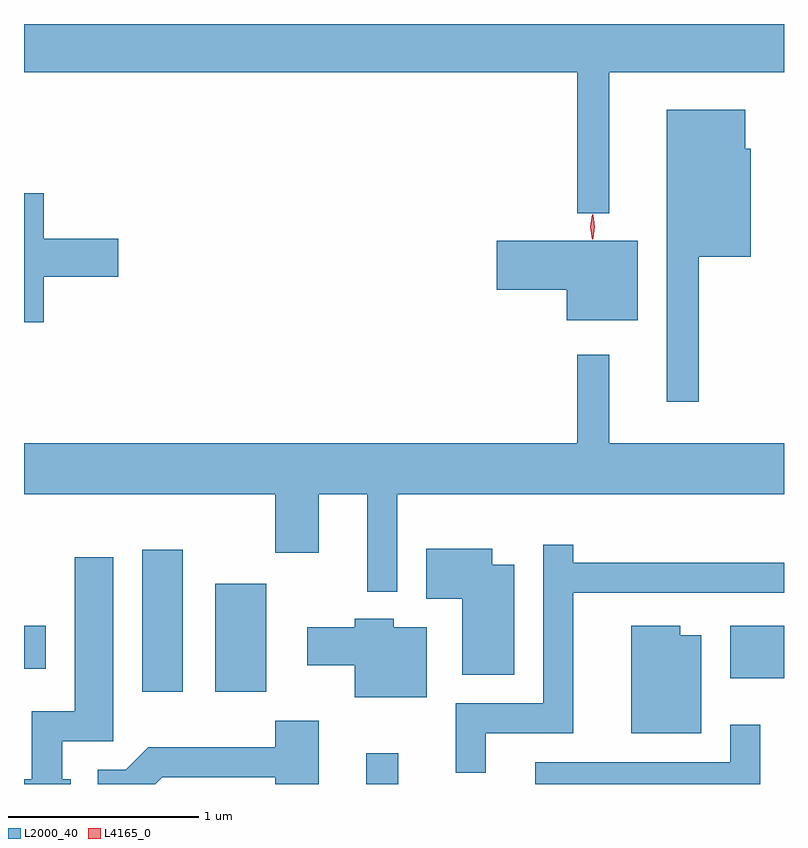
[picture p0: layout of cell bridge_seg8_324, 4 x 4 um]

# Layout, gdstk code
import gdstk
lib = gdstk.Library(unit=1e-6, precision=1e-09)
def R(c, l, rs):  # rectangles x0, y0, x1, y1
    for r in rs: c.add(gdstk.rectangle(r[:2], r[2:], *l))
def P(c, l, *ps):  # polygons
    for p in ps: c.add(gdstk.Polygon(p, *l))
L2000_40 = (2000, 40)
L4165_0 = (4165, 0)

bridge_seg8_324 = lib.new_cell('bridge_seg8_324')
R(bridge_seg8_324, L2000_40, [(858.781,1928.13,858.949,1928.293), (857.601,1928.616,857.814,1929.364), (857.986,1928.616,858.254,1929.184), (860.696,1928.686,860.979,1928.964), (856.979,1928.736,857.094,1928.964)])
P(bridge_seg8_324, L2000_40, [(860.059,1931.876),(860.979,1931.876),(860.979,1932.13),(856.979,1932.13),(856.979,1931.876),(859.891,1931.876),(859.891,1931.133),(860.059,1931.133)],
  [(860.529,1930.906),(860.804,1930.906),(860.804,1931.474),(860.774,1931.474),(860.774,1931.679),(860.361,1931.679),(860.361,1930.143),(860.529,1930.143)],
  [(857.084,1930.801),(857.474,1930.801),(857.474,1930.999),(857.084,1930.999),(857.084,1931.239),(856.979,1931.239),(856.979,1930.561),(857.084,1930.561)],
  [(860.209,1930.989),(859.466,1930.989),(859.466,1930.731),(859.836,1930.731),(859.836,1930.571),(860.209,1930.571)],
  [(856.979,1929.656),(858.301,1929.656),(858.301,1929.346),(858.529,1929.346),(858.529,1929.656),(858.786,1929.656),(858.786,1929.143),(858.944,1929.143),(858.944,1929.656),(860.979,1929.656),(860.979,1929.924),(860.059,1929.924),(860.059,1930.388),(859.891,1930.388),(859.891,1929.924),(856.979,1929.924)],
  [(859.409,1928.396),(859.869,1928.396),(859.869,1929.136),(860.979,1929.136),(860.979,1929.294),(859.869,1929.294),(859.869,1929.388),(859.711,1929.388),(859.711,1928.554),(859.251,1928.554),(859.251,1928.188),(859.409,1928.188)],
  [(859.559,1929.284),(859.444,1929.284),(859.444,1929.369),(859.096,1929.369),(859.096,1929.106),(859.286,1929.106),(859.286,1928.706),(859.559,1928.706)],
  [(857.224,1928.154),(857.179,1928.154),(857.179,1928.356),(857.449,1928.356),(857.449,1929.324),(857.246,1929.324),(857.246,1928.514),(857.021,1928.514),(857.021,1928.154),(856.979,1928.154),(856.979,1928.13),(857.224,1928.13)],
  [(859.099,1928.954),(858.924,1928.954),(858.924,1928.999),(858.721,1928.999),(858.721,1928.954),(858.471,1928.954),(858.471,1928.756),(858.721,1928.756),(858.721,1928.586),(859.099,1928.586)],
  [(860.544,1928.914),(860.434,1928.914),(860.434,1928.964),(860.176,1928.964),(860.176,1928.396),(860.544,1928.396)],
  [(857.707,1928.166),(858.301,1928.166),(858.301,1928.13),(858.529,1928.13),(858.529,1928.464),(858.301,1928.464),(858.301,1928.324),(857.634,1928.324),(857.514,1928.204),(857.368,1928.204),(857.368,1928.13),(857.671,1928.13)],
  [(860.854,1928.443),(860.696,1928.443),(860.696,1928.244),(859.671,1928.244),(859.671,1928.13),(860.854,1928.13)])
P(bridge_seg8_324, L4165_0, [(859.969,1930.994),(859.969,1930.994),(859.96,1931.062),(859.97,1931.13),(859.971,1931.13),(859.971,1931.13),(859.98,1931.062),(859.97,1930.994)],
  [(859.972,1931),(859.963,1931.063),(859.972,1931.126),(859.973,1931.127),(859.974,1931.126),(859.983,1931.063),(859.974,1931),(859.973,1931)])

lib.write_gds('bridge_seg8_324.gds')
